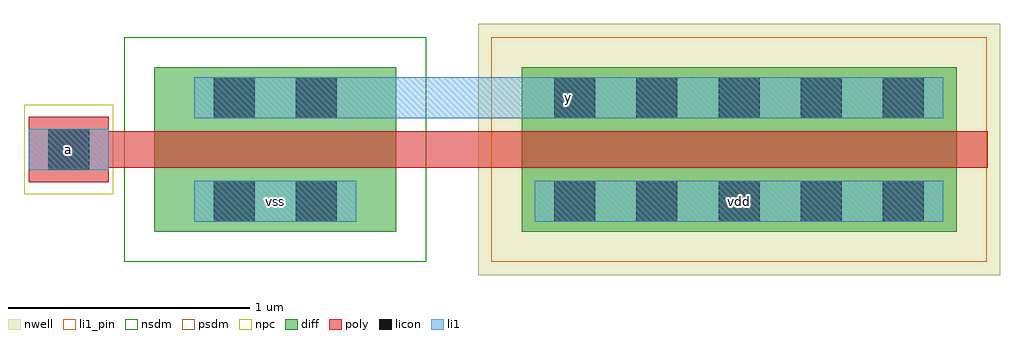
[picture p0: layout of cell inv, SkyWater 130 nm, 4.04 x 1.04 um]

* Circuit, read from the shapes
.subckt inv a vdd vss y
XM1 y a vss VSUBS sky130_fd_pr__nfet_01v8 w=1 l=0.15
XM2 y a vdd n1 sky130_fd_pr__pfet_01v8 w=1.8 l=0.15
.ends

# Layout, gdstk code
import gdstk
lib = gdstk.Library(unit=1e-6, precision=1e-09)
def R(c, l, rs):  # rectangles x0, y0, x1, y1
    for r in rs: c.add(gdstk.rectangle(r[:2], r[2:], *l))
def A(c, l, x, y, w, h, nx, ny, dx, dy):  # array of equal rectangles
    R(c, l, [(x+i*dx, y+j*dy, x+i*dx+w, y+j*dy+h) for i in range(nx) for j in range(ny)])
nwell = (64, 20)
diff = (65, 20)
poly = (66, 20)
licon = (66, 44)
li1_pin = (67, 16)
li1 = (67, 20)
nsdm = (93, 44)
psdm = (94, 20)
npc = (95, 20)

inv = lib.new_cell('inv')
R(inv, nwell, [(1.34,-0.18,3.5,0.86)])
R(inv, diff, [(0,0,1,0.68), (0.185,0,0.815,0.25), (1.52,0,3.32,0.68), (1.595,0,3.245,0.25), (0.185,0.43,0.815,0.68), (1.595,0.43,3.245,0.68)])
R(inv, poly, [(-0.52,0.205,-0.19,0.475), (-0.19,0.265,3.45,0.415)])
A(inv, licon, 1.655, 0.04, 0.17, 0.17, 5, 2, 0.34, 0.43)
R(inv, licon, [(0.245,0.04,0.415,0.21), (0.585,0.04,0.755,0.21), (-0.44,0.255,-0.27,0.425), (0.245,0.47,0.415,0.64), (0.585,0.47,0.755,0.64)])
R(inv, li1_pin, [(0.165,0.04,0.835,0.21), (1.575,0.04,3.265,0.21), (-0.52,0.255,-0.19,0.425), (0.165,0.47,3.265,0.64)])
R(inv, li1, [(0.165,0.04,0.835,0.21), (0.165,0.04,0.835,0.21), (1.575,0.04,3.265,0.21), (1.575,0.04,3.265,0.21), (-0.52,0.255,-0.19,0.425), (-0.52,0.255,-0.19,0.425), (0.165,0.47,3.265,0.64), (0.165,0.47,3.265,0.64), (0.165,0.47,0.835,0.64), (1.575,0.47,3.265,0.64)])
R(inv, nsdm, [(-0.125,-0.125,1.125,0.805)])
R(inv, psdm, [(1.395,-0.125,3.445,0.805)])
R(inv, npc, [(-0.54,0.155,-0.17,0.525), (-0.54,0.155,-0.17,0.525)])
inv.add(gdstk.Label('vss', (0.5,0.125), layer=67, texttype=5))
inv.add(gdstk.Label('a', (-0.355,0.34), layer=67, texttype=5))
inv.add(gdstk.Label('y', (1.715,0.555), layer=67, texttype=5))
inv.add(gdstk.Label('vdd', (2.42,0.125), layer=67, texttype=5))

lib.write_gds('inv.gds')
